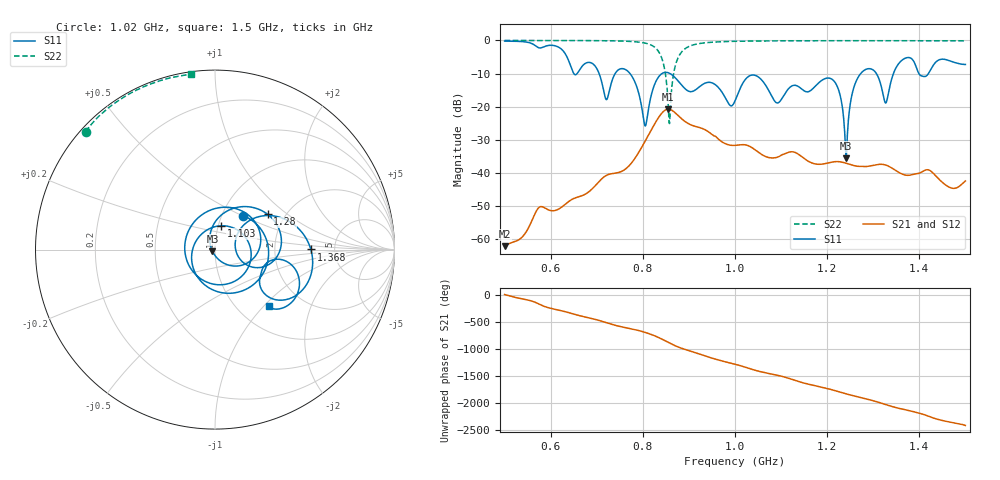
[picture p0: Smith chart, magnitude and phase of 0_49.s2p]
! TOUCHSTONE file generated by CST MICROWAVE STUDIO
! Date and time: Sat Oct 24 10:49:34 2020
! Project name: Scenario_1_Planar_Body_Tissue_Center.cst
! Parameters = {hfat=3; hmuscle=50; hskin=1.5; hgap=25; Wtissue=700; Ltissue=700; L_HA=400; MT=2.54; Rad_Dielectric=30; Rad_Lower=7.3; Rad_Upper=30; a_HA=580; a_WG=246; b_HA=500; b_WG=121; c_HA=0; c_WG=187; d_feed=85; dx1=1004.36; h_feed=15; h_lower=18; h_upper=40}
! Header version: 2018
! Port assignment regex: !\s*Touchstone port\s*([0-9]+)\s*=\s*(CST MWS port|CST DS port)\s*([0-9]+|Zmin|Zmax)\s*\(\"(.*)\"\)(\s*mode\s*([0-9]+))?.*
! Touchstone port assignment:
! Touchstone port 1 = CST MWS port 1 ("")
! Touchstone port 2 = CST MWS port 2 ("")
# GHz S DB R 50
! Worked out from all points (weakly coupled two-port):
!   1003 points, 500 MHz to 1.5 GHz, reference 50 ohm
!   highest |S21| = -20.73 dB at 855 MHz (marker M1); lowest = -62.1 dB at 500 MHz (marker M2)
!   lowest |S11| = -35.5 dB at 1.241 GHz (marker M3), VSWR 1.03, Z = 48.6 - j0.835 ohm
!   |S11| at or under -10 dB: 772.2 MHz to 841.4 MHz (69.22 MHz wide, 8.58 % of centre); 859.1 MHz to 1.273 GHz (413.7 MHz wide, 38.8 % of centre); 1.307 GHz to 1.344 GHz (36.95 MHz wide, 2.79 % of centre)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
!   |S22| runs from -25.1 to 0.0 dB; largest |S21 - S12| = 5.5e-05
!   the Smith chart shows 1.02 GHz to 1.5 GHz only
!   S11 on the Smith chart (normalised r, x): 1.02 GHz: 1.25, +0.51; 1.103 GHz: 1.03, +0.28; 1.28 GHz: 1.63, +0.73; 1.368 GHz: 3.29, +0.01; 1.5 GHz: 1.38, -1.07
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0.5  -0.20 -121.7  -62.06 5.7  -62.06 5.7  -0.01 151.1
0.63  -3.69 149.8  -49.61 53.0  -49.61 53.0  -0.03 141.7
0.667  -8.00 163.9  -46.88 -33.4  -46.88 -33.4  -0.04 138.4
0.714  -14.51 35.6  -41.36 -135.7  -41.36 -135.7  -0.08 133.1
0.733  -12.19 -131.0  -40.18 173.7  -40.18 173.7  -0.12 130.4
0.767  -9.24 120.8  -38.24 107.3  -38.24 107.3  -0.25 123.8
0.805  -25.80 -53.8  -30.38 27.3  -30.38 27.3  -0.81 110.1
0.834  -11.03 134.6  -23.28 -66.8  -23.28 -66.8  -3.31 83.3
0.855  -9.75 57.7  -20.73 -156.8  -20.73 -156.8  -19.32 18.0
0.896  -15.07 -107.4  -24.87 60.7  -24.87 60.7  -2.11 171.0
1  -18.24 142.8  -31.66 160.9  -31.66 160.9  -0.26 140.2
1.02  -12.22 50.6  -31.46 111.3  -31.46 111.3  -0.22 137.7
1.057  -11.80 -71.1  -34.33 19.5  -34.33 19.5  -0.16 133.7
1.103  -17.26 75.7  -34.45 -66.3  -34.45 -66.3  -0.12 129.4
1.139  -14.03 -80.4  -34.46 -162.6  -34.46 -162.6  -0.10 126.4
1.167  -14.80 142.4  -36.97 137.4  -36.97 137.4  -0.10 124.2
1.216  -12.44 -3.6  -36.58 35.5  -36.58 35.5  -0.09 120.4
1.241  -35.53 -149.1  -37.05 -26.4  -37.05 -26.4  -0.08 118.5
1.28  -9.05 33.8  -38.04 -110.5  -38.04 -110.5  -0.08 115.6
1.334  -15.18 38.4  -38.00 117.0  -38.00 117.0  -0.09 111.5
1.368  -5.45 0.1  -40.56 42.2  -40.56 42.2  -0.09 108.9
1.5  -7.25 -46.1  -42.39 110.1  -42.39 110.1  -0.13 97.9
